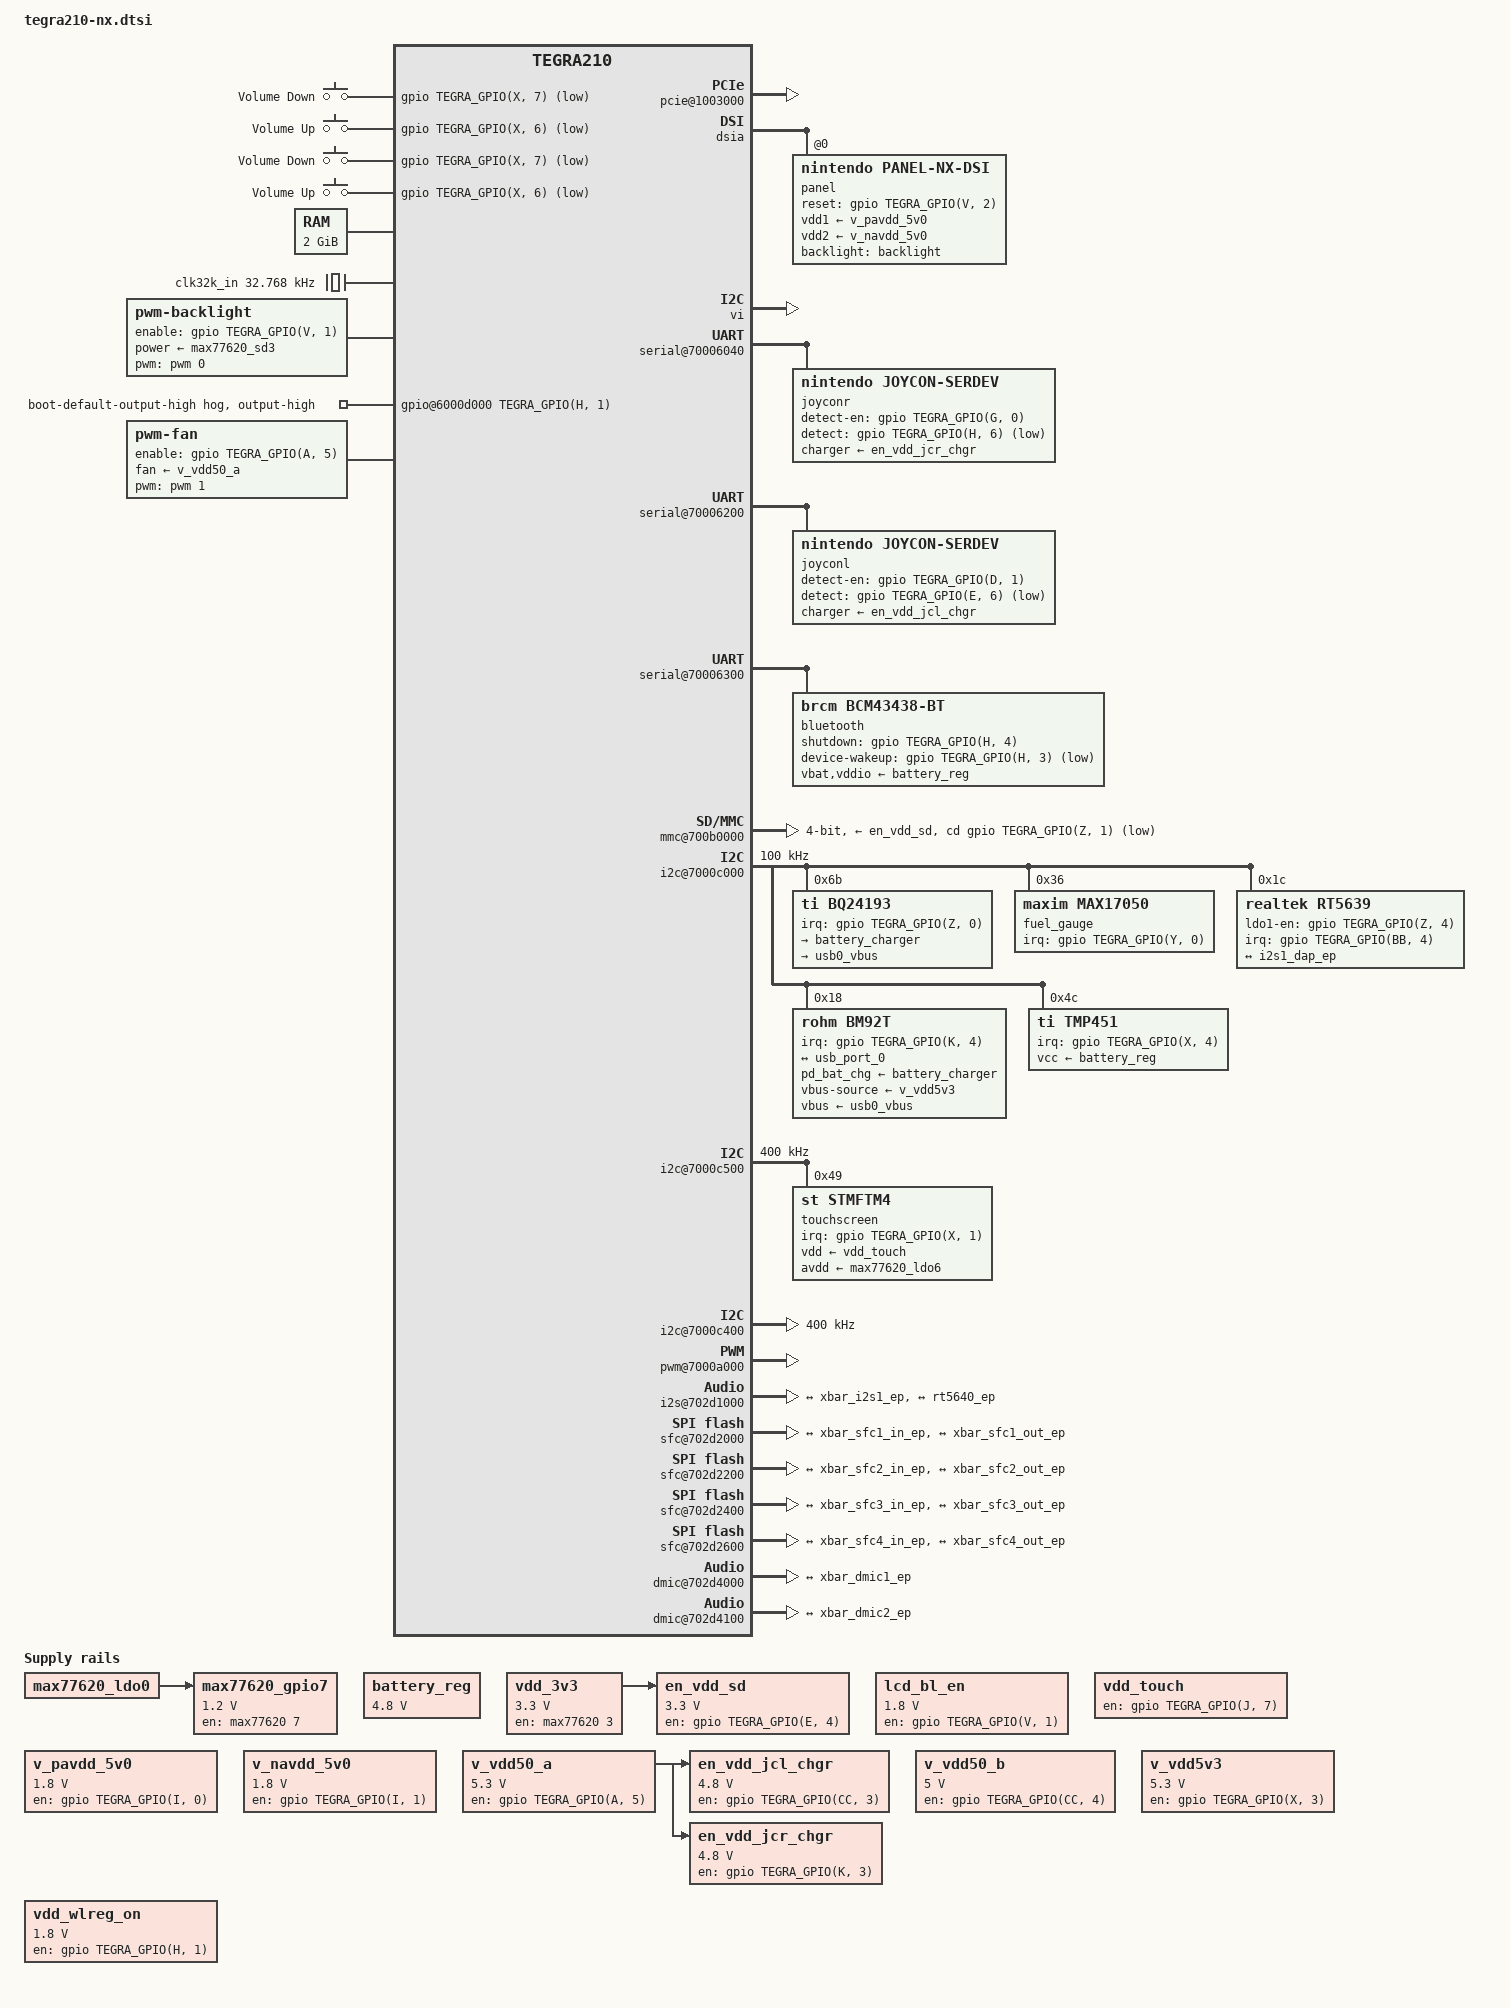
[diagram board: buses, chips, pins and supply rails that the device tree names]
// SPDX-License-Identifier: GPL-2.0
/dts-v1/;

#include <dt-bindings/mfd/max77620.h>
#include <dt-bindings/gpio/tegra-gpio.h>
#include <dt-bindings/thermal/thermal.h>
#include <dt-bindings/interrupt-controller/irq.h>
#include <dt-bindings/soc/tegra-pmc.h>
#include <dt-bindings/input/input.h>
#include <dt-bindings/pwm/pwm.h>
#include <dt-bindings/pinctrl/pinctrl-tegra.h>
#include <dt-bindings/pinctrl/pinctrl-tegra-io-pad.h>
#include <dt-bindings/sound/rt5640.h>

#include "tegra210.dtsi"

/ {
	aliases {
		i2c1 = "/i2c@7000c000";
		i2c2 = "/i2c@7000c400";
		i2c3 = "/i2c@7000c500";
		i2c5 = "/i2c@7000d000";
		rtc0 = "/i2c@7000d000/max77620@3c";
		rtc1 = "/rtc@7000e000";
		serial0 = &uarta;
		serial1 = &uartb;
		serial2 = &uartc;
		serial3 = &uartd;
	};

	gpio-keys {
		compatible = "gpio-keys";
		gpio-keys,name = "gpio-keys";

		volume_down {
			label = "Volume Down";
			gpios = <&gpio TEGRA_GPIO(X, 7) GPIO_ACTIVE_LOW>;
			linux,code = <KEY_VOLUMEDOWN>;
			debounce-interval = <16>;
		};

		volume_up {
			label = "Volume Up";
			gpios = <&gpio TEGRA_GPIO(X, 6) GPIO_ACTIVE_LOW>;
			linux,code = <KEY_VOLUMEUP>;
			debounce-interval = <16>;
		};
	};

	firmware {
		android {
			compatible = "android,firmware";
			boot_devices = "700b0000.mmc";
			hardware = "nx";
		};
	};

	cpus {
		#address-cells = <1>;
		#size-cells = <0>;

		cpu@0 {
			vdd-cpu-supply = <&cpu_max_reg>;
			#cooling-cells = <2>;
		};

		idle-states {
			cpu-sleep {
				status = "okay";
			};
		};
	};

	gpu@57000000 {
		status = "okay";
		vdd-supply = <&gpu_max_reg>;
	};

	pcie@1003000 {
		status = "okay";

		avdd-pll-uerefe-supply = <&max77620_ldo1>;
		hvddio-pex-supply = <&max77620_sd3>;
		dvddio-pex-supply = <&max77620_ldo1>;
		dvdd-pex-pll-supply = <&max77620_ldo1>;
		hvdd-pex-pll-e-supply = <&max77620_sd3>;
		vddio-pex-ctl-supply = <&max77620_sd3>;

		pci@1,0 {
			phys =	<&{/padctl@7009f000/pads/pcie/lanes/pcie-3}>, /* Referred to plat config */
				<&{/padctl@7009f000/pads/pcie/lanes/pcie-2}>;
			phy-names = "pcie-0", "pcie-1";
			nvidia,num-lanes = <2>;
			status = "disabled";
		};

		pci@2,0 {
			phys = <&{/padctl@7009f000/pads/pcie/lanes/pcie-0}>;
			phy-names = "pcie-0";
			status = "okay";
		};
	};

	host1x@50000000 {
		dsia: dsi@54300000 {
			status = "okay";

			panel@0 {
				compatible = "nintendo,panel-nx-dsi";
				reset-gpios = <&gpio TEGRA_GPIO(V, 2) GPIO_ACTIVE_HIGH>;
				backlight = <&backlight>;
				vdd1-supply = <&v_pavdd_5v0>;
				vdd2-supply = <&v_navdd_5v0>;
			};
		};

		/* tegradc.0: DSI */
		dc@54200000 {
			status = "okay";
			pavdd_lcd-supply = <&v_pavdd_5v0>;
			navdd_lcd-supply = <&v_navdd_5v0>;
			dvdd_lcd-supply = <&max77620_sd3>;
			vdd_lcd_bl_en-supply = <&lcd_bl_en>;
			nvidia,outputs = <&dsia>;
		};

		/* tegradc.1: DP */
		dc@54240000 {
			status = "okay";
			avdd_hdmi-supply = <&max77620_ldo8>;    /* 1V05 */
			avdd_hdmi_pll-supply = <&max77620_sd3>; /* 1V8 */
			// vdd_hdmi_5v0-supply = <&vdd_hdmi>; /* 5V0 GPIO_PCC7 fixed reg */

			vdd-dp-pwr-supply = <&vdd_3v3>;
			avdd-dp-pll-supply = <&max77620_sd3>;
			vdd-dp-pad-supply = <&max77620_ldo8>;

			extcon-cables = <&bm92t 3>;
			extcon-cable-names = "typec1";

			nvidia,outputs = <&sor1>;
		};

		dpaux1: dpaux@54040000 {
			status = "okay";
			vdd-supply = <&v_pavdd_5v0>;
		};

		sor1: sor@54580000 {
			status = "okay";
			nvidia,dpaux = <&dpaux1>;

			avdd-io-hdmi-dp-supply = <&max77620_ldo8>;
			vdd-hdmi-dp-pll-supply = <&max77620_sd3>;

			nvidia,hpd-gpio = <&gpio TEGRA_GPIO(CC, 1) GPIO_ACTIVE_LOW>;
		};

		vi: i2c@546c0000 {
			status = "okay";
		};
	};

	clock@70110000 {
		status = "okay";
		nvidia,cf = <6>;
		nvidia,ci = <0>;
		nvidia,cg = <2>;
		nvidia,droop-ctrl = <0x00000f00>;
		nvidia,force-mode = <1>;
		nvidia,i2c-fs-rate = <400000>;
		nvidia,sample-rate = <12500>;
		vdd-cpu-supply = <&cpu_max_reg>;
	};

	memory {
		device_type = "memory";
		reg = <0x0 0x80000000 0x0 0x80000000>;
	};

	reserved-memory {
		/delete-node/ vpr-carveout;
		/delete-node/ iram-carveout;
	};

	r2p {
		compatible = "nvidia,tegra210-r2p";
		nvidia,pmc = <&pmc>;
		status = "okay";
	};

	/* debug port */
	serial@70006000 {
		status = "disabled";
	};

	/* joycon ports:
	invert TXD and RTS via IRDA_CSR
	start @ 1000000 baud, switch to 3000000
	when they are >= 3000000 baud, use 2 stop bits
	use flow control
	Note: hsuart driver is required for flow control
	*/
	/* right joycon */
	serial@70006040 {
		status = "okay";
		compatible = "nvidia,tegra124-hsuart", "nvidia,tegra30-hsuart";
		nvidia,invert-txd;
		nvidia,invert-rts;
		reset-names = "serial";

		joyconr {
			status = "okay";
			compatible = "nintendo,joycon-serdev";
			charger-supply = <&en_vdd_jcr_chgr>;
			detect-en-gpios = <&gpio TEGRA_GPIO(G, 0) GPIO_ACTIVE_HIGH>;
			detect-gpios = <&gpio TEGRA_GPIO(H, 6) GPIO_ACTIVE_LOW>;
		};
	};

	/* left joycon */
	serial@70006200 {
		status = "okay";
		compatible = "nvidia,tegra124-hsuart", "nvidia,tegra30-hsuart";
		nvidia,invert-txd;
		nvidia,invert-rts;
		reset-names = "serial";

		joyconl {
			status = "okay";
			compatible = "nintendo,joycon-serdev";
			charger-supply = <&en_vdd_jcl_chgr>;
			detect-en-gpios = <&gpio TEGRA_GPIO(D, 1) GPIO_ACTIVE_HIGH>;
			detect-gpios = <&gpio TEGRA_GPIO(E, 6) GPIO_ACTIVE_LOW>;
		};
	};

	/* bluetooth */
	serial@70006300 {
		dma-names = "tx";
		status = "okay";
		compatible = "nvidia,tegra124-hsuart", "nvidia,tegra30-hsuart";
		reset-names = "serial";

		bluetooth {
			compatible = "brcm,bcm43438-bt";
			vbat-supply = <&battery_reg>;
			vddio-supply = <&battery_reg>;
			shutdown-gpios = <&gpio TEGRA_GPIO(H, 4) GPIO_ACTIVE_HIGH>;
			device-wakeup-gpios = <&gpio TEGRA_GPIO(H, 3) GPIO_ACTIVE_LOW>;
			max-speed = <3000000>; /* Max supported 4 MBaud */
			sco-routing = <1>; /* Over HCI */
		};
	};

	pmc: pmc@7000e400 {
		pinctrl-names = "default";
		pinctrl-0 = <&pmc_audio_hv &pmc_spi_hv &pmc_gpio &pmc_sdmmc3>;
		status = "okay";

		pmc_audio_hv: audio-hv {
			pins = "audio-hv";
			power-source = <TEGRA_IO_PAD_VOLTAGE_1V8>;
		};

		pmc_spi_hv: spi-hv {
			pins = "spi-hv";
			power-source = <TEGRA_IO_PAD_VOLTAGE_1V8>;
		};

		pmc_gpio: gpio {
			pins = "gpio";
			power-source = <TEGRA_IO_PAD_VOLTAGE_1V8>;
		};

		pmc_sdmmc3: sdmmc3 {
			pins = "sdmmc3";
			power-source = <TEGRA_IO_PAD_VOLTAGE_1V8>;
		};
	};

	clk32k_in: clock-32k {
		compatible = "fixed-clock";
		clock-frequency = <32768>;
		#clock-cells = <0>;
	};

	backlight: backlight {
		compatible = "pwm-backlight";
		pwms = <&pwm 0 33898>;
		pwm-names = "backlight";
		brightness-levels = <
			0 1 2 3 4 5 6 7 8 9 10 11 12 13 14 15 16
			17 18 19 20 21 22 23 24 25 26 27 28 29 30
			31 32 33 34 35 36 37 38 39 40 41 42 43 44
			45 46 47 48 49 50 51 52 53 54 55 56 57 58
			59 60 61 62 63 64 65 66 67 68 69 70 71 72
			73 74 75 76 77 78 79 80 81 82 83 84 85 86
			87 88 89 90 91 92 93 94 95 96 97 98 99 100
		>;
		default-brightness-level = <50>;
		enable-gpios = <&gpio TEGRA_GPIO(V, 1) GPIO_ACTIVE_HIGH>;
		power-supply = <&max77620_sd3>;
	};

	/* Fixed regulators */
	battery_reg: regulator@0 {
		compatible = "regulator-fixed";
		reg = <0>;
		regulator-name = "vdd-ac-bat";
		regulator-min-microvolt = <4800000>;
		regulator-max-microvolt = <4800000>;
		regulator-always-on;
	};

	vdd_3v3: regulator@1 {
		compatible = "regulator-fixed";
		reg = <1>;
		regulator-name = "vdd-3v3";
		regulator-min-microvolt = <3300000>;
		regulator-max-microvolt = <3300000>;
		regulator-always-on;
		gpio = <&max77620 3 0>;
		enable-active-high;
		regulator-enable-ramp-delay = <160>;
		regulator-disable-ramp-delay = <10000>;
	};

	max77620_gpio7: avdd-dsi-csi-1v2 {
		compatible = "regulator-fixed";
		regulator-name = "max77620-gpio7";
		regulator-min-microvolt = <1200000>;
		regulator-max-microvolt = <1200000>;
		regulator-boot-on; /* Must be set for seamless display */
		gpio = <&max77620 7 0>;
		enable-active-high;
		regulator-enable-ramp-delay = <240>;
		regulator-disable-ramp-delay = <11340>;
		vin-supply = <&max77620_ldo0>;
	};

	lcd_bl_en: regulator@3 {
		compatible = "regulator-fixed";
		reg = <3>;
		status = "okay"; /* Only enabled on Odin/Modin/Vali */
		regulator-name = "lcd-bl-en";
		regulator-min-microvolt = <1800000>;
		regulator-max-microvolt = <1800000>;
		gpio = <&gpio TEGRA_GPIO(V, 1) 0>;
		regulator-boot-on; /* Must be set for seamless display */
		enable-active-high;
	};

	vdd_touch: regulator-touch-vdd {
		compatible = "regulator-fixed";
		regulator-name = "touch-vdd";
		gpio = <&gpio TEGRA_GPIO(J, 7) GPIO_ACTIVE_HIGH>;
		enable-active-high;
		startup-delay-us = <5000>; // from downstream driver
	};

	en_vdd_sd: regulator@4 {
		compatible = "regulator-fixed";
		reg = <4>;
		regulator-name = "en-vdd-sd";
		regulator-min-microvolt = <3300000>;
		regulator-max-microvolt = <3300000>;
		gpio = <&gpio TEGRA_GPIO(E, 4) 0>;
		enable-active-high;
		regulator-enable-ramp-delay = <472>;
		regulator-disable-ramp-delay = <4880>;
		vin-supply = <&vdd_3v3>;
	};

	/* LCD Power Enable +5V. Rohm BD8316GWL. */
	v_pavdd_5v0: v-pavdd-5v0 {
		compatible = "regulator-fixed";
		regulator-name = "v_pavdd_5v0";
		regulator-min-microvolt = <1800000>;
		regulator-max-microvolt = <1800000>;
		gpio = <&gpio TEGRA_GPIO(I, 0) 0>;
		enable-active-high;
		regulator-boot-on; /* Must be set for seamless display */
		regulator-enable-ramp-delay = <232>;
	};

	/* LCD Power Enable -5V. Rohm BD8316GWL. */
	v_navdd_5v0: regulator@8 {
		compatible = "regulator-fixed";
		reg = <8>;
		status = "okay"; /* Only enabled on Odin/Modin/Vali*/
		regulator-name = "v_navdd_5v0";
		regulator-min-microvolt = <1800000>;
		regulator-max-microvolt = <1800000>;
		gpio = <&gpio TEGRA_GPIO(I, 1) 0>;
		enable-active-high;
		regulator-boot-on; /* Must be set for seamless display */
		regulator-enable-ramp-delay = <232>;
	};

	/* Joycon/Fan power (battery). Maxim MAX8969EWL53+. */
	v_vdd50_a: regulator@9 {
		compatible = "regulator-fixed";
		reg = <9>;
		regulator-name = "v_vdd50_a";
		regulator-min-microvolt = <5300000>;
		regulator-max-microvolt = <5300000>;
		gpio = <&gpio TEGRA_GPIO(A, 5) 0>;
		enable-active-high;
	};

	/* Joycon/Fan power (usb). DC0 on Odin. Maxim MAX8969EWL53+ on Modin. */
	v_vdd50_b: regulator@0xa {
		compatible = "regulator-fixed";
		reg = <10>;
		status = "okay"; /* Only enabled on Odin/Modin */
		regulator-name = "v_vdd50_b";
		regulator-min-microvolt = <5000000>;
		regulator-max-microvolt = <5000000>;
		gpio = <&gpio TEGRA_GPIO(CC, 4) 0>;
		enable-active-high;
	};

	/* VBUS power */
	v_vdd5v3: regulator@0xb {
		compatible = "regulator-fixed";
		reg = <11>;
		status = "okay"; /* Only enabled on Modin/Vali/Fric */
		regulator-name = "v_vdd5v3";
		regulator-min-microvolt = <5300000>;
		regulator-max-microvolt = <5300000>;
		gpio = <&gpio TEGRA_GPIO(X, 3) 0>;
		enable-active-high;
		regulator-enable-ramp-delay = <10000>;
	};

	vdd3v3_gc: regulator@0xc {
		compatible = "regulator-fixed";
		status = "disabled"; /* Only on Odin */
		reg = <12>;
		regulator-name = "vdd3v3_gc";
		regulator-min-microvolt = <3300000>;
		regulator-max-microvolt = <3300000>;
		gpio = <&gpio TEGRA_GPIO(E, 5) 0>;
		enable-active-high;
		regulator-enable-ramp-delay = <472>;
		regulator-disable-ramp-delay = <4880>;
		vin-supply = <&vdd_3v3>;
	};

	vdd_wlreg_on: regulator@0xd {
		compatible = "regulator-fixed";
		reg = <13>;
		regulator-name = "vdd-wlreg_on";
		regulator-min-microvolt = <1800000>;
		regulator-max-microvolt = <1800000>;
		gpio = <&gpio TEGRA_GPIO(H, 1) 0>;
		regulator-boot-on;
		regulator-always-on;
		enable-active-high;
	};

	/* TI TCR2EE48 4.8V */
	en_vdd_jcl_chgr: regulator@0xe {
		compatible = "regulator-fixed";
		reg = <14>;
		status = "okay";
		regulator-name = "left-jc-reg";
		regulator-min-microvolt = <4800000>;
		regulator-max-microvolt = <4800000>;
		gpio = <&gpio TEGRA_GPIO(CC, 3) GPIO_ACTIVE_HIGH>;
		enable-active-high;
		vin-supply = <&v_vdd50_a>;
	};

	/* TI TCR2EE48 4.8V */
	en_vdd_jcr_chgr: regulator@0xf {
		compatible = "regulator-fixed";
		reg = <15>;
		status = "okay";
		regulator-name = "right-jc-reg";
		regulator-min-microvolt = <4800000>;
		regulator-max-microvolt = <4800000>;
		gpio = <&gpio TEGRA_GPIO(K, 3) GPIO_ACTIVE_HIGH>;
		enable-active-high;
		vin-supply = <&v_vdd50_a>;
	};

	/* SDMMC4 for EMMC */
	mmc@700b0600 {
		status = "disabled";
		bus-width = <8>;
		max-frequency = <200000000>;

		cap-mmc-highspeed;
		mmc-ddr-1_8v;
		mmc-hs200-1_8v;
		mmc-hs400-1_8v;
		non-removable;

		vqmmc-supply = <&max77620_sd3>;
		vmmc-supply = <&vdd_3v3>;
	};

	/* SDMMC3 Not Used */
	mmc@700b0400 {
		status = "disabled";

		vqmmc-supply = <&max77620_sd3>;
		vmmc-supply = <&vdd_3v3>;
	};

	/* SDMMC2 for Gamecard */
	mmc@700b0200 {
		status = "disabled";
		bus-width = <8>;
		max-frequency = <200000000>;

		mmc-ddr-1_8v;
		mmc-hs400-1_8v;
		mmc-hs200-1_8v;
		cap-mmc-highspeed;
		cap-sd-highspeed;
		non-removable;

		vqmmc-supply = <&max77620_sd3>;
		vmmc-supply = <&vdd_3v3>;
	};

	/* SDMMC1 for SD Card */
	mmc@700b0000 {
		status = "okay";
		bus-width = <4>;
		//max-frequency = <200000000>;

		cap-sd-highspeed;
		sd-uhs-sdr12;
		sd-uhs-sdr50;
		sd-uhs-sdr104;

		cd-gpios = <&gpio TEGRA_GPIO(Z, 1) GPIO_ACTIVE_LOW>;

		vmmc-supply = <&en_vdd_sd>;
		vqmmc-supply = <&max77620_ldo2>;
	};

	hda@70030000 {
		status = "okay";
	};

    	/* i2c1 @ 100000hz
	1c: realtek 5639
	18: rohm usb-pd
	4c: ti temperature sensor
	6b: ti charger
	36: maxim fuel gauge
	*/
	i2c@7000c000 {
		status = "okay";
		clock-frequency = <100000>;

		bq24193@6b {
			compatible = "ti,bq24193";
			reg = <0x6b>;

			interrupt-parent = <&gpio>;
			interrupts = <TEGRA_GPIO(Z, 0) IRQ_TYPE_LEVEL_LOW>;

			monitored-battery = <&fuel_gauge>;
			#extcon-cells = <1>;

			omit-battery-class;

			battery_charger: charger {
				regulator-name = "batt_regulator";
				regulator-max-microamp = <4500000>;
			};

			usb0_vbus: usb-otg-vbus {
				regulator-name = "vbus_regulator";
			};
		};

		fuel_gauge: fuel-gauge@36 {
			compatible = "maxim,max17050";
			status = "okay";
			reg = <0x36>;

			interrupt-parent = <&gpio>;
			interrupts = <TEGRA_GPIO(Y, 0) IRQ_TYPE_EDGE_FALLING>;

			/* Actual is 5000 but driver does not account for CGAIN */
			/* And does not take into account Rsense and CGAIN for capacity */
			maxim,rsns-microohm = <10000>;
			maxim,over-heat-temp = <600>;
			maxim,dead-volt = <3000>;
			maxim,over-volt = <4208>; /* Actual: 4258 mV */

			#thermal-sensor-cells = <0>;
		};

		rt5639: audio-codec@1c {
			status = "okay";
			compatible = "realtek,rt5639";
			reg = <0x1c>;
			interrupt-parent = <&gpio>;
			interrupts = <TEGRA_GPIO(BB, 4) IRQ_TYPE_EDGE_RISING>;
			clocks = <&tegra_pmc TEGRA_PMC_CLK_OUT_1>;
			clock-names = "mclk";
			assigned-clocks = <&tegra_pmc TEGRA_PMC_CLK_OUT_1>;
			assigned-clock-parents = <&tegra_car TEGRA210_CLK_EXTERN1>;
			realtek,ldo1-en-gpios = <&gpio TEGRA_GPIO(Z, 4) GPIO_ACTIVE_HIGH>;
			realtek,over-current-threshold-microamp = <600>;
			realtek,over-current-scale-factor = <2>;
			realtek,jack-detect-source = <RT5640_JD_SRC_JD1_IN4P>;

			sound-name-prefix = "x";

			port {
				rt5640_ep: endpoint {
					remote-endpoint = <&i2s1_dap_ep>;
					mclk-fs = <256>;
				};
			};
		};

		/* PD Chip */
		bm92t: bm92t@18 {
			compatible = "rohm,bm92t";
			reg = <0x18>;
			interrupt-parent = <&gpio>;
			interrupts = <TEGRA_GPIO(K, 4) IRQ_TYPE_LEVEL_LOW>;
			pd_bat_chg-supply = <&battery_charger>;
			vbus-source-supply = <&v_vdd5v3>;
			vbus-supply = <&usb0_vbus>;

			rohm,dp-lanes = <2>;
			rohm,dp-signal-toggle-on-resume;

			/* Absolute max is 2.4A, constrained by BQ24193 ILIM */
			rohm,pd-5v-current-limit-ma = <2000>;
			rohm,pd-9v-current-limit-ma = <2000>;
			rohm,pd-12v-current-limit-ma = <1500>;
			rohm,pd-15v-current-limit-ma = <1200>;

			connector {
				compatible = "usb-c-connector";
				label = "USB-C";
				power-role = "dual";
				data-role = "dual";
				displayport = <&sor1>;

				ports {
					#address-cells = <1>;
					#size-cells = <0>;

					port@0 {
						reg = <0>;
						usb_con_ep: endpoint {
							remote-endpoint = <&usb_port_0>;
						};
					};
				};
			};
		};

		tmp451: temperature-sensor@4c {
			compatible = "ti,tmp451";
			status = "okay";
			reg = <0x4c>;

			interrupt-parent = <&gpio>;
			interrupts = <TEGRA_GPIO(X, 4) IRQ_TYPE_EDGE_FALLING>;
			vcc-supply = <&battery_reg>;

			#thermal-sensor-cells = <1>;
		};
   	};

	/* i2c3 @ 400000hz
	49: stm touchscreen controller
	*/
	i2c@7000c500 {
		status = "okay";
		clock-frequency = <400000>;

		touchscreen@49 {
			compatible = "st,stmftm4";
			reg = <0x49>;
			interrupt-parent = <&gpio>;
			interrupts = <TEGRA_GPIO(X, 1) IRQ_TYPE_LEVEL_LOW>;
			touchscreen-size-x = <1280>;
			touchscreen-size-y = <720>;
			touch-key-connected;
			vdd-supply = <&vdd_touch>;
			avdd-supply = <&max77620_ldo6>;
		};
	};


	/* i2c2 @ 400000hz
	29: rohm ambient light sensor
	*/
	i2c@7000c400 {
		status = "okay";
		clock-frequency = <400000>;

		bh1730fvc: bh1730fvc@29 {
			status = "disabled";
			compatible = "rohm,bh1730fvc";
			reg = <0x29>;
			als-vid-supply = <&max77620_ldo6>;
			als-vdd-supply = <&vdd_3v3>;
			rohm,integration-cycle = <38>;
			rohm,lux-multiplier = <3600>;

			rohm,opt-win-coeff = < 500 5002 7502
					       754 2250 2000
					      1029 1999 1667
					      1373  884  583
					      1879  309  165>;

			rohm,gain-coeff = < 2500     0
					    1600  7800
					      10 50000
					       0  1000>;
		};
	};

	spi@7000da00 {
		status = "disabled"; /* Disabled for Vali */
		num-cs = <1>;

		#address-cells = <1>;
		#size-cells = <0>;

		// spi-cs-setup-delay-ns = <2>;
		// spi-cs-hold-delay-ns = <2>;
		// spi-cs-inactive-delay-ns = <2>;

		/*
		* Model WHOAMI:
		* LSM6DS3H 0x69, LSM6DSE 0x6A, LSM6DSO 0x6C, ICM40607 0x38.
		*/
		gyroscope: imu@0 {
			reg = <0>;
			status = "disabled";
			compatible = "st,lsm6ds3h";

			#address-cells = <1>;
			#size-cells = <0>;

			spi-max-frequency = <8000000>;

			/* SPI Mode-3 */
			spi-cpha;
			spi-cpol;

			interrupt-parent = <&gpio>;
			interrupts = <TEGRA_GPIO(X, 2) IRQ_TYPE_LEVEL_HIGH>;

			vdd-supply = <&battery_reg>;
			vddio-supply = <&battery_reg>;

			st,drdy-int-pin = <2>;

			nvidia,rx-clk-tap-delay = <0x1f>;
			nvidia,tx-clk-tap-delay = <0x0>;


			mount-matrix =
				"1", "0",  "0", /* X:  x */
				"0", "1",  "0", /* Y:  y */
				"0", "0",  "1"; /* Z:  z */
		};
	};

	gpio-keys {
		compatible = "gpio-keys";

		key-volume-down {
			label = "Volume Down";
			gpios = <&gpio TEGRA_GPIO(X, 7) GPIO_ACTIVE_LOW>;
			linux,input-type = <EV_KEY>;
			linux,code = <KEY_VOLUMEDOWN>;
			debounce-interval = <10>;
		};

		key-volume-up {
			label = "Volume Up";
			gpios = <&gpio TEGRA_GPIO(X, 6) GPIO_ACTIVE_LOW>;
			linux,input-type = <EV_KEY>;
			linux,code = <KEY_VOLUMEUP>;
			debounce-interval = <10>;
		};
	};

	gpio@6000d000 {
		boot-default-output-high {
			gpio-hog;
			output-high;
			gpios = <TEGRA_GPIO(H, 1) GPIO_ACTIVE_HIGH>;  /* Wi-Fi Reset. Powered on by default. */
			line-name = "boot-default-output-high";
		};
	};

	pwm@7000a000 {
		status = "okay";
		#pwm-cells = <2>;
		pinctrl-names = "default", "sleep";
		pinctrl-0 = <&fan_pwm_default>;
		pinctrl-1 = <&fan_pwm_sleep>;
	};

	pinmux@700008d4 {
		fan_pwm_default: fan-pwm-default {
			lcd_gpio2_pv4 {
				nvidia,pins = "lcd_gpio2_pv4";
				nvidia,function = "pwm1";
				nvidia,pull = <TEGRA_PIN_PULL_NONE>;
				nvidia,tristate = <TEGRA_PIN_DISABLE>;
				nvidia,enable-input = <TEGRA_PIN_DISABLE>;
			};
		};

		fan_pwm_sleep: fan-pwm-sleep {
			lcd_gpio2_pv4 {
				nvidia,pins = "lcd_gpio2_pv4";
				nvidia,function = "pwm1";
				nvidia,pull = <TEGRA_PIN_PULL_UP>;
				nvidia,tristate = <TEGRA_PIN_ENABLE>;
				nvidia,enable-input = <TEGRA_PIN_DISABLE>;
			};
		};
	};

  	fan: pwm-fan {
		compatible = "pwm-fan";
		cooling-min-state = <0>;
		cooling-max-state = <5>;
		#cooling-cells = <2>;
		pwms = <&pwm 1 33333>;
		fan-supply = <&v_vdd50_a>;
		enable-gpios = <&gpio TEGRA_GPIO(A, 5) GPIO_ACTIVE_HIGH>;
		/* cooling level (0, 1, 2, 3, 4, 5) - pwm inverted */
		cooling-levels = <255 204 153 102 51 1>;
	};

	aconnect@702c0000 {
		status = "okay";

		ahub@702d0800 {
			status = "okay";

			admaif@702d0000 {
				status = "okay";
			};

			/* I2S1: RT5639 */
			i2s@702d1000 {
				status = "okay";

				ports {
					#address-cells = <1>;
					#size-cells = <0>;

					port@0 {
						reg = <0>;

						i2s1_cif_ep: endpoint {
							remote-endpoint = <&xbar_i2s1_ep>;
						};
					};

					i2s1_port: port@1 {
						reg = <1>;

						i2s1_dap_ep: endpoint {
							dai-format = "i2s";
							remote-endpoint = <&rt5640_ep>;
						};
					};
				};
			};

			/* I2S2: BCM4356-BT PCM */
			// i2s@702d1100 {
			// 	status = "okay";
//
// 				ports {
// 					#address-cells = <1>;
// 					#size-cells = <0>;
//
// 					port@0 {
// 						reg = <0>;
//
// 						i2s2_cif_ep: endpoint {
// 							remote-endpoint = <&xbar_i2s2_ep>;
// 						};
// 					};
//
// 					i2s2_port: port@1 {
// 						reg = <1>;
//
// 						/*i2s2_dap_ep: endpoint {
// 							dai-format = "dsp_a";
// 							remote-endpoint = <&spdif1_ep>;
// 						};*/
// 					};
// 				};
			//};

			sfc@702d2000 {
				status = "okay";

				ports {
					#address-cells = <1>;
					#size-cells = <0>;

					port@0 {
						reg = <0>;

						sfc1_cif_in_ep: endpoint {
							remote-endpoint = <&xbar_sfc1_in_ep>;
						};
					};

					sfc1_out_port: port@1 {
						reg = <1>;

						sfc1_cif_out_ep: endpoint {
							remote-endpoint = <&xbar_sfc1_out_ep>;
						};
					};
				};
			};

			sfc@702d2200 {
				status = "okay";

				ports {
					#address-cells = <1>;
					#size-cells = <0>;

					port@0 {
						reg = <0>;

						sfc2_cif_in_ep: endpoint {
							remote-endpoint = <&xbar_sfc2_in_ep>;
						};
					};

					sfc2_out_port: port@1 {
						reg = <1>;

						sfc2_cif_out_ep: endpoint {
							remote-endpoint = <&xbar_sfc2_out_ep>;
						};
					};
				};
			};

			sfc@702d2400 {
				status = "okay";

				ports {
					#address-cells = <1>;
					#size-cells = <0>;

					port@0 {
						reg = <0>;

						sfc3_cif_in_ep: endpoint {
							remote-endpoint = <&xbar_sfc3_in_ep>;
						};
					};

					sfc3_out_port: port@1 {
						reg = <1>;

						sfc3_cif_out_ep: endpoint {
							remote-endpoint = <&xbar_sfc3_out_ep>;
						};
					};
				};
			};

			sfc@702d2600 {
				status = "okay";

				ports {
					#address-cells = <1>;
					#size-cells = <0>;

					port@0 {
						reg = <0>;

						sfc4_cif_in_ep: endpoint {
							remote-endpoint = <&xbar_sfc4_in_ep>;
						};
					};

					sfc4_out_port: port@1 {
						reg = <1>;

						sfc4_cif_out_ep: endpoint {
							remote-endpoint = <&xbar_sfc4_out_ep>;
						};
					};
				};
			};

			amx@702d3000 {
				status = "okay";

				ports {
					#address-cells = <1>;
					#size-cells = <0>;

					port@0 {
						reg = <0>;

						amx1_in1_ep: endpoint {
							remote-endpoint = <&xbar_amx1_in1_ep>;
						};
					};

					port@1 {
						reg = <1>;

						amx1_in2_ep: endpoint {
							remote-endpoint = <&xbar_amx1_in2_ep>;
						};
					};

					port@2 {
						reg = <2>;

						amx1_in3_ep: endpoint {
							remote-endpoint = <&xbar_amx1_in3_ep>;
						};
					};

					port@3 {
						reg = <3>;

						amx1_in4_ep: endpoint {
							remote-endpoint = <&xbar_amx1_in4_ep>;
						};
					};

					amx1_out_port: port@4 {
						reg = <4>;

						amx1_out_ep: endpoint {
							remote-endpoint = <&xbar_amx1_out_ep>;
						};
					};
				};
			};

			amx@702d3100 {
				status = "okay";

				ports {
					#address-cells = <1>;
					#size-cells = <0>;

					port@0 {
						reg = <0>;

						amx2_in1_ep: endpoint {
							remote-endpoint = <&xbar_amx2_in1_ep>;
						};
					};

					port@1 {
						reg = <1>;

						amx2_in2_ep: endpoint {
							remote-endpoint = <&xbar_amx2_in2_ep>;
						};
					};

					amx2_in3_port: port@2 {
						reg = <2>;

						amx2_in3_ep: endpoint {
							remote-endpoint = <&xbar_amx2_in3_ep>;
						};
					};

					amx2_in4_port: port@3 {
						reg = <3>;

						amx2_in4_ep: endpoint {
							remote-endpoint = <&xbar_amx2_in4_ep>;
						};
					};

					amx2_out_port: port@4 {
						reg = <4>;

						amx2_out_ep: endpoint {
							remote-endpoint = <&xbar_amx2_out_ep>;
						};
					};
				};
			};

			adx@702d3800 {
				status = "okay";

				ports {
					#address-cells = <1>;
					#size-cells = <0>;

					port@0 {
						reg = <0>;

						adx1_in_ep: endpoint {
							remote-endpoint = <&xbar_adx1_in_ep>;
						};
					};

					adx1_out1_port: port@1 {
						reg = <1>;

						adx1_out1_ep: endpoint {
							remote-endpoint = <&xbar_adx1_out1_ep>;
						};
					};

					adx1_out2_port: port@2 {
						reg = <2>;

						adx1_out2_ep: endpoint {
							remote-endpoint = <&xbar_adx1_out2_ep>;
						};
					};

					adx1_out3_port: port@3 {
						reg = <3>;

						adx1_out3_ep: endpoint {
							remote-endpoint = <&xbar_adx1_out3_ep>;
						};
					};

					adx1_out4_port: port@4 {
						reg = <4>;

						adx1_out4_ep: endpoint {
							remote-endpoint = <&xbar_adx1_out4_ep>;
						};
					};
				};
			};

			adx@702d3900 {
				status = "okay";

				ports {
					#address-cells = <1>;
					#size-cells = <0>;

					port@0 {
						reg = <0>;

						adx2_in_ep: endpoint {
							remote-endpoint = <&xbar_adx2_in_ep>;
						};
					};

					adx2_out1_port: port@1 {
						reg = <1>;

						adx2_out1_ep: endpoint {
							remote-endpoint = <&xbar_adx2_out1_ep>;
						};
					};

					adx2_out2_port: port@2 {
						reg = <2>;

						adx2_out2_ep: endpoint {
							remote-endpoint = <&xbar_adx2_out2_ep>;
						};
					};

					adx2_out3_port: port@3 {
						reg = <3>;

						adx2_out3_ep: endpoint {
							remote-endpoint = <&xbar_adx2_out3_ep>;
						};
					};

					adx2_out4_port: port@4 {
						reg = <4>;

						adx2_out4_ep: endpoint {
							remote-endpoint = <&xbar_adx2_out4_ep>;
						};
					};
				};
			};

			dmic@702d4000 {
				status = "okay";

				ports {
					#address-cells = <1>;
					#size-cells = <0>;

					port@0 {
						reg = <0>;

						dmic1_cif_ep: endpoint {
							remote-endpoint = <&xbar_dmic1_ep>;
						};
					};

					dmic1_port: port@1 {
						reg = <1>;

						dmic1_dap_ep: endpoint {
							/* Placeholder for external Codec */
						};
					};
				};
			};

			dmic@702d4100 {
				status = "okay";

				ports {
					#address-cells = <1>;
					#size-cells = <0>;

					port@0 {
						reg = <0>;

						dmic2_cif_ep: endpoint {
							remote-endpoint = <&xbar_dmic2_ep>;
						};
					};

					dmic2_port: port@1 {
						reg = <1>;

						dmic2_dap_ep: endpoint {
							/* Placeholder for external Codec */
						};
					};
				};
			};

			processing-engine@702d8000 {
				status = "okay";

				ports {
					#address-cells = <1>;
					#size-cells = <0>;

					port@0 {
						reg = <0x0>;

						ope1_cif_in_ep: endpoint {
							remote-endpoint = <&xbar_ope1_in_ep>;
						};
					};

					ope1_out_port: port@1 {
						reg = <0x1>;

						ope1_cif_out_ep: endpoint {
							remote-endpoint = <&xbar_ope1_out_ep>;
						};
					};
				};
			};

			processing-engine@702d8400 {
				status = "okay";

				ports {
					#address-cells = <1>;
					#size-cells = <0>;

					port@0 {
						reg = <0x0>;

						ope2_cif_in_ep: endpoint {
							remote-endpoint = <&xbar_ope2_in_ep>;
						};
					};

					ope2_out_port: port@1 {
						reg = <0x1>;

						ope2_cif_out_ep: endpoint {
							remote-endpoint = <&xbar_ope2_out_ep>;
						};
					};
				};
			};

			mvc@702da000 {
				status = "okay";

				ports {
					#address-cells = <1>;
					#size-cells = <0>;

					port@0 {
						reg = <0>;

						mvc1_cif_in_ep: endpoint {
							remote-endpoint = <&xbar_mvc1_in_ep>;
						};
					};

					mvc1_out_port: port@1 {
						reg = <1>;

						mvc1_cif_out_ep: endpoint {
							remote-endpoint = <&xbar_mvc1_out_ep>;
						};
					};
				};
			};

			mvc@702da200 {
				status = "okay";

				ports {
					#address-cells = <1>;
					#size-cells = <0>;

					port@0 {
						reg = <0>;

						mvc2_cif_in_ep: endpoint {
							remote-endpoint = <&xbar_mvc2_in_ep>;
						};
					};

					mvc2_out_port: port@1 {
						reg = <1>;

						mvc2_cif_out_ep: endpoint {
							remote-endpoint = <&xbar_mvc2_out_ep>;
						};
					};
				};
			};

			amixer@702dbb00 {
				status = "okay";

				ports {
					#address-cells = <1>;
					#size-cells = <0>;

					port@0 {
						reg = <0x0>;

						mixer_in1_ep: endpoint {
							remote-endpoint = <&xbar_mixer_in1_ep>;
						};
					};

					port@1 {
						reg = <0x1>;

						mixer_in2_ep: endpoint {
							remote-endpoint = <&xbar_mixer_in2_ep>;
						};
					};

					port@2 {
						reg = <0x2>;

						mixer_in3_ep: endpoint {
							remote-endpoint = <&xbar_mixer_in3_ep>;
						};
					};

					port@3 {
						reg = <0x3>;

						mixer_in4_ep: endpoint {
							remote-endpoint = <&xbar_mixer_in4_ep>;
						};
					};

					port@4 {
						reg = <0x4>;

						mixer_in5_ep: endpoint {
							remote-endpoint = <&xbar_mixer_in5_ep>;
						};
					};

					port@5 {
						reg = <0x5>;

						mixer_in6_ep: endpoint {
							remote-endpoint = <&xbar_mixer_in6_ep>;
						};
					};

					port@6 {
						reg = <0x6>;

						mixer_in7_ep: endpoint {
							remote-endpoint = <&xbar_mixer_in7_ep>;
						};
					};

					port@7 {
						reg = <0x7>;

						mixer_in8_ep: endpoint {
							remote-endpoint = <&xbar_mixer_in8_ep>;
						};
					};

					port@8 {
						reg = <0x8>;

						mixer_in9_ep: endpoint {
							remote-endpoint = <&xbar_mixer_in9_ep>;
						};
					};

					port@9 {
						reg = <0x9>;

						mixer_in10_ep: endpoint {
							remote-endpoint = <&xbar_mixer_in10_ep>;
						};
					};

					mixer_out1_port: port@a {
						reg = <0xa>;

						mixer_out1_ep: endpoint {
							remote-endpoint = <&xbar_mixer_out1_ep>;
						};
					};

					mixer_out2_port: port@b {
						reg = <0xb>;

						mixer_out2_ep: endpoint {
							remote-endpoint = <&xbar_mixer_out2_ep>;
						};
					};

					mixer_out3_port: port@c {
						reg = <0xc>;

						mixer_out3_ep: endpoint {
							remote-endpoint = <&xbar_mixer_out3_ep>;
						};
					};

					mixer_out4_port: port@d {
						reg = <0xd>;

						mixer_out4_ep: endpoint {
							remote-endpoint = <&xbar_mixer_out4_ep>;
						};
					};

					mixer_out5_port: port@e {
						reg = <0xe>;

						mixer_out5_ep: endpoint {
							remote-endpoint = <&xbar_mixer_out5_ep>;
						};
					};
				};
			};

			ports {
				xbar_i2s1_port: port@a {
					reg = <0xa>;

					xbar_i2s1_ep: endpoint {
						remote-endpoint = <&i2s1_cif_ep>;
					};
				};

// 				xbar_i2s2_port: port@b {
// 					reg = <0xb>;
//
// 					xbar_i2s2_ep: endpoint {
// 						remote-endpoint = <&i2s2_cif_ep>;
// 					};
// 				};

				xbar_dmic1_port: port@f {
					reg = <0xf>;

					xbar_dmic1_ep: endpoint {
						remote-endpoint = <&dmic1_cif_ep>;
					};
				};

				xbar_dmic2_port: port@10 {
					reg = <0x10>;

					xbar_dmic2_ep: endpoint {
						remote-endpoint = <&dmic2_cif_ep>;
					};
				};

				xbar_sfc1_in_port: port@12 {
					reg = <0x12>;

					xbar_sfc1_in_ep: endpoint {
						remote-endpoint = <&sfc1_cif_in_ep>;
					};
				};

				port@13 {
					reg = <0x13>;

					xbar_sfc1_out_ep: endpoint {
						remote-endpoint = <&sfc1_cif_out_ep>;
					};
				};

				xbar_sfc2_in_port: port@14 {
					reg = <0x14>;

					xbar_sfc2_in_ep: endpoint {
						remote-endpoint = <&sfc2_cif_in_ep>;
					};
				};

				port@15 {
					reg = <0x15>;

					xbar_sfc2_out_ep: endpoint {
						remote-endpoint = <&sfc2_cif_out_ep>;
					};
				};

				xbar_sfc3_in_port: port@16 {
					reg = <0x16>;

					xbar_sfc3_in_ep: endpoint {
						remote-endpoint = <&sfc3_cif_in_ep>;
					};
				};

				port@17 {
					reg = <0x17>;

					xbar_sfc3_out_ep: endpoint {
						remote-endpoint = <&sfc3_cif_out_ep>;
					};
				};

				xbar_sfc4_in_port: port@18 {
					reg = <0x18>;

					xbar_sfc4_in_ep: endpoint {
						remote-endpoint = <&sfc4_cif_in_ep>;
					};
				};

				port@19 {
					reg = <0x19>;

					xbar_sfc4_out_ep: endpoint {
						remote-endpoint = <&sfc4_cif_out_ep>;
					};
				};

				xbar_mvc1_in_port: port@1a {
					reg = <0x1a>;

					xbar_mvc1_in_ep: endpoint {
						remote-endpoint = <&mvc1_cif_in_ep>;
					};
				};

				port@1b {
					reg = <0x1b>;

					xbar_mvc1_out_ep: endpoint {
						remote-endpoint = <&mvc1_cif_out_ep>;
					};
				};

				xbar_mvc2_in_port: port@1c {
					reg = <0x1c>;

					xbar_mvc2_in_ep: endpoint {
						remote-endpoint = <&mvc2_cif_in_ep>;
					};
				};

				port@1d {
					reg = <0x1d>;

					xbar_mvc2_out_ep: endpoint {
						remote-endpoint = <&mvc2_cif_out_ep>;
					};
				};

				xbar_amx1_in1_port: port@1e {
					reg = <0x1e>;

					xbar_amx1_in1_ep: endpoint {
						remote-endpoint = <&amx1_in1_ep>;
					};
				};

				xbar_amx1_in2_port: port@1f {
					reg = <0x1f>;

					xbar_amx1_in2_ep: endpoint {
						remote-endpoint = <&amx1_in2_ep>;
					};
				};

				xbar_amx1_in3_port: port@20 {
					reg = <0x20>;

					xbar_amx1_in3_ep: endpoint {
						remote-endpoint = <&amx1_in3_ep>;
					};
				};

				xbar_amx1_in4_port: port@21 {
					reg = <0x21>;

					xbar_amx1_in4_ep: endpoint {
						remote-endpoint = <&amx1_in4_ep>;
					};
				};

				port@22 {
					reg = <0x22>;

					xbar_amx1_out_ep: endpoint {
						remote-endpoint = <&amx1_out_ep>;
					};
				};

				xbar_amx2_in1_port: port@23 {
					reg = <0x23>;

					xbar_amx2_in1_ep: endpoint {
						remote-endpoint = <&amx2_in1_ep>;
					};
				};

				xbar_amx2_in2_port: port@24 {
					reg = <0x24>;

					xbar_amx2_in2_ep: endpoint {
						remote-endpoint = <&amx2_in2_ep>;
					};
				};

				xbar_amx2_in3_port: port@25 {
					reg = <0x25>;

					xbar_amx2_in3_ep: endpoint {
						remote-endpoint = <&amx2_in3_ep>;
					};
				};

				xbar_amx2_in4_port: port@26 {
					reg = <0x26>;

					xbar_amx2_in4_ep: endpoint {
						remote-endpoint = <&amx2_in4_ep>;
					};
				};

				port@27 {
					reg = <0x27>;

					xbar_amx2_out_ep: endpoint {
						remote-endpoint = <&amx2_out_ep>;
					};
				};

				xbar_adx1_in_port: port@28 {
					reg = <0x28>;

					xbar_adx1_in_ep: endpoint {
						remote-endpoint = <&adx1_in_ep>;
					};
				};

				port@29 {
					reg = <0x29>;

					xbar_adx1_out1_ep: endpoint {
						remote-endpoint = <&adx1_out1_ep>;
					};
				};

				port@2a {
					reg = <0x2a>;

					xbar_adx1_out2_ep: endpoint {
						remote-endpoint = <&adx1_out2_ep>;
					};
				};

				port@2b {
					reg = <0x2b>;

					xbar_adx1_out3_ep: endpoint {
						remote-endpoint = <&adx1_out3_ep>;
					};
				};

				port@2c {
					reg = <0x2c>;

					xbar_adx1_out4_ep: endpoint {
						remote-endpoint = <&adx1_out4_ep>;
					};
				};

				xbar_adx2_in_port: port@2d {
					reg = <0x2d>;

					xbar_adx2_in_ep: endpoint {
						remote-endpoint = <&adx2_in_ep>;
					};
				};

				port@2e {
					reg = <0x2e>;

					xbar_adx2_out1_ep: endpoint {
						remote-endpoint = <&adx2_out1_ep>;
					};
				};

				port@2f {
					reg = <0x2f>;

					xbar_adx2_out2_ep: endpoint {
						remote-endpoint = <&adx2_out2_ep>;
					};
				};

				port@30 {
					reg = <0x30>;

					xbar_adx2_out3_ep: endpoint {
						remote-endpoint = <&adx2_out3_ep>;
					};
				};

				port@31 {
					reg = <0x31>;

					xbar_adx2_out4_ep: endpoint {
						remote-endpoint = <&adx2_out4_ep>;
					};
				};

				xbar_mixer_in1_port: port@32 {
					reg = <0x32>;

					xbar_mixer_in1_ep: endpoint {
						remote-endpoint = <&mixer_in1_ep>;
					};
				};

				xbar_mixer_in2_port: port@33 {
					reg = <0x33>;

					xbar_mixer_in2_ep: endpoint {
						remote-endpoint = <&mixer_in2_ep>;
					};
				};

				xbar_mixer_in3_port: port@34 {
					reg = <0x34>;

					xbar_mixer_in3_ep: endpoint {
						remote-endpoint = <&mixer_in3_ep>;
					};
				};

				xbar_mixer_in4_port: port@35 {
					reg = <0x35>;

					xbar_mixer_in4_ep: endpoint {
						remote-endpoint = <&mixer_in4_ep>;
					};
				};

				xbar_mixer_in5_port: port@36 {
					reg = <0x36>;

					xbar_mixer_in5_ep: endpoint {
						remote-endpoint = <&mixer_in5_ep>;
					};
				};

				xbar_mixer_in6_port: port@37 {
					reg = <0x37>;

					xbar_mixer_in6_ep: endpoint {
						remote-endpoint = <&mixer_in6_ep>;
					};
				};

				xbar_mixer_in7_port: port@38 {
					reg = <0x38>;

					xbar_mixer_in7_ep: endpoint {
						remote-endpoint = <&mixer_in7_ep>;
					};
				};

				xbar_mixer_in8_port: port@39 {
					reg = <0x39>;

					xbar_mixer_in8_ep: endpoint {
						remote-endpoint = <&mixer_in8_ep>;
					};
				};

				xbar_mixer_in9_port: port@3a {
					reg = <0x3a>;

					xbar_mixer_in9_ep: endpoint {
						remote-endpoint = <&mixer_in9_ep>;
					};
				};

				xbar_mixer_in10_port: port@3b {
					reg = <0x3b>;

					xbar_mixer_in10_ep: endpoint {
						remote-endpoint = <&mixer_in10_ep>;
					};
				};

				port@3c {
					reg = <0x3c>;

					xbar_mixer_out1_ep: endpoint {
						remote-endpoint = <&mixer_out1_ep>;
					};
				};

				port@3d {
					reg = <0x3d>;

					xbar_mixer_out2_ep: endpoint {
						remote-endpoint = <&mixer_out2_ep>;
					};
				};

				port@3e {
					reg = <0x3e>;

					xbar_mixer_out3_ep: endpoint {
						remote-endpoint = <&mixer_out3_ep>;
					};
				};

				port@3f {
					reg = <0x3f>;

					xbar_mixer_out4_ep: endpoint {
						remote-endpoint = <&mixer_out4_ep>;
					};
				};

				port@40 {
					reg = <0x40>;

					xbar_mixer_out5_ep: endpoint {
						remote-endpoint = <&mixer_out5_ep>;
					};
				};

				xbar_ope1_in_port: port@41 {
					reg = <0x41>;

					xbar_ope1_in_ep: endpoint {
						remote-endpoint = <&ope1_cif_in_ep>;
					};
				};

				port@42 {
					reg = <0x42>;

					xbar_ope1_out_ep: endpoint {
						remote-endpoint = <&ope1_cif_out_ep>;
					};
				};

				xbar_ope2_in_port: port@43 {
					reg = <0x43>;

					xbar_ope2_in_ep: endpoint {
						remote-endpoint = <&ope2_cif_in_ep>;
					};
				};

				port@44 {
					reg = <0x44>;

					xbar_ope2_out_ep: endpoint {
						remote-endpoint = <&ope2_cif_out_ep>;
					};
				};
			};
		};
	};

	sound {
		status = "okay";

		compatible = "nvidia,tegra210-audio-graph-card";

		dais = /* FE */
		       <&admaif1_port>, <&admaif2_port>, <&admaif3_port>,
		       <&admaif4_port>, <&admaif5_port>, <&admaif6_port>,
		       <&admaif7_port>, <&admaif8_port>, <&admaif9_port>,
		       <&admaif10_port>,
		       /* Router */
		       <&xbar_i2s1_port>, /*<&xbar_i2s2_port>,*/
		       <&xbar_dmic1_port>, <&xbar_dmic2_port>,
		       <&xbar_sfc1_in_port>, <&xbar_sfc2_in_port>,
		       <&xbar_sfc3_in_port>, <&xbar_sfc4_in_port>,
		       <&xbar_mvc1_in_port>, <&xbar_mvc2_in_port>,
		       <&xbar_amx1_in1_port>, <&xbar_amx1_in2_port>,
		       <&xbar_amx1_in3_port>, <&xbar_amx1_in4_port>,
		       <&xbar_amx2_in1_port>, <&xbar_amx2_in2_port>,
		       <&xbar_amx2_in3_port>, <&xbar_amx2_in4_port>,
		       <&xbar_adx1_in_port>, <&xbar_adx2_in_port>,
		       <&xbar_mixer_in1_port>, <&xbar_mixer_in2_port>,
		       <&xbar_mixer_in3_port>, <&xbar_mixer_in4_port>,
		       <&xbar_mixer_in5_port>, <&xbar_mixer_in6_port>,
		       <&xbar_mixer_in7_port>, <&xbar_mixer_in8_port>,
		       <&xbar_mixer_in9_port>, <&xbar_mixer_in10_port>,
		       <&xbar_ope1_in_port>, <&xbar_ope2_in_port>,
		       /* HW accelerators */
		       <&sfc1_out_port>, <&sfc2_out_port>,
		       <&sfc3_out_port>, <&sfc4_out_port>,
		       <&mvc1_out_port>, <&mvc2_out_port>,
		       <&amx1_out_port>, <&amx2_out_port>,
		       <&adx1_out1_port>, <&adx1_out2_port>,
		       <&adx1_out3_port>, <&adx1_out4_port>,
		       <&adx2_out1_port>, <&adx2_out2_port>,
		       <&adx2_out3_port>, <&adx2_out4_port>,
		       <&mixer_out1_port>, <&mixer_out2_port>,
		       <&mixer_out3_port>, <&mixer_out4_port>,
		       <&mixer_out5_port>,
		       <&ope1_out_port>, <&ope2_out_port>,
		       /* I/O DAP Ports */
		       <&i2s1_port>/*, <&i2s2_port>*/;

		label = "Nintendo-Switch-rt5640-APE";

		widgets = "Microphone",	"x Mic Jack",
			  "Headphone",	"x Headphone Jack",
			  "Speaker",	"x Int Spk";

		routing = /* I2S1 <-> RT5640 */
			  "x AIF1 Playback",	"I2S1 DAP-Playback",
			  "I2S1 DAP-Capture",		"x AIF1 Capture",
			  /* RT5640 codec controls */
			  "x Headphone Jack", 	"x HPOL",
			  "x Headphone Jack", 	"x HPOR",
			  "x Int Spk", 	"x SPORP",
			  "x Int Spk", 	"x SPORN",
			  "x Int Spk", 	"x SPOLP",
			  "x Int Spk", 	"x SPOLN",
			  "x IN1P",		"x Mic Jack",
			  "x IN1P",		"x Mic Jack";
	};

	thermal-zones {
		cpu {
			polling-delay-passive = <250>;
			polling-delay = <500>;
			status = "okay";

			/* Based on Console profile SoC: 95% (100% at Handheld) */
			coefficients = <95 0 0 0 0 0 0 0 0 0 0 0 0 0 0 0 0 0 0 0>;
			thermal-sensors = <&tmp451 1>;

			trips {
				cpu_critical: cpu-critical {
					temperature = <102500>;
					hysteresis = <0>;
					type = "critical";
				};

				cpu_heavy: cpu-heavy {
					temperature = <98500>;
					hysteresis = <1000>;
					type = "hot";
				};

				cpu_throttle: cpu-throttle {
					temperature = <85000>;
					hysteresis = <3000>;
					type = "passive";
				};

				cpu_fan_trip0: cpu-fan-trip0 {
					temperature = <42000>;
					hysteresis = <3000>;
					type = "active";
				};

				cpu_fan_trip1: cpu-fan-trip1 {
					temperature = <50000>;
					hysteresis = <3000>;
					type = "active";
				};

				cpu_fan_trip2: cpu-fan-trip2 {
					temperature = <57000>;
					hysteresis = <3000>;
					type = "active";
				};

				cpu_fan_trip3: cpu-fan-trip3 {
					temperature = <64000>;
					hysteresis = <3000>;
					type = "active";
				};

				cpu_fan_trip4: cpu-fan-trip4 {
					temperature = <70000>;
					hysteresis = <3000>;
					type = "active";
				};
			};

			cooling-maps {
				map0 {
					cooling-device = <&fan THERMAL_NO_LIMIT THERMAL_NO_LIMIT>;
					trip = <&cpu_critical>;
				};

				map1 {
					cooling-device = <&fan THERMAL_NO_LIMIT THERMAL_NO_LIMIT>;
					trip = <&cpu_heavy>;
				};

				map2 {
					cooling-device = <&{/cpus/cpu@0} THERMAL_NO_LIMIT THERMAL_NO_LIMIT>;
					trip = <&cpu_throttle>;
				};

				map3 {
					cooling-device = <&fan 1 1>;
					trip = <&cpu_fan_trip0>;
				};

				map4 {
					cooling-device = <&fan 2 2>;
					trip = <&cpu_fan_trip1>;
				};

				map5 {
					cooling-device = <&fan 3 3>;
					trip = <&cpu_fan_trip2>;
				};

				map6 {
					cooling-device = <&fan 4 4>;
					trip = <&cpu_fan_trip3>;
				};

				map7 {
					cooling-device = <&fan 5 5>;
					trip = <&cpu_fan_trip4>;
				};
			};
		};

		pmic {
			status = "okay";
			polling-delay-passive = <250>;
			polling-delay = <500>;
			thermal-sensors = <&max77620>;

			trips {
				pmic_die_warn_temp_thresh: hot-die {
					temperature = <120000>;
					type = "hot";
					hysteresis = <0>;
				};

				pmic_die_cirt_temp_thresh: critical-die {
					temperature = <140000>;
					type = "critical";
					hysteresis = <0>;
				};
			};

			cooling-maps {
				map0 {
					trip = <&pmic_die_warn_temp_thresh>;
					cooling-device = <&throttle_heavy 1 1>;
					contribution = <100>;
				};
			};
		};

		cpu_vreg {
			status = "okay";
			polling-delay-passive = <250>;
			polling-delay = <500>;
			thermal-sensors = <&cpu_max_reg>;

			trips {
				cpu_vreg_die_warn_temp_thresh: hot-die {
					temperature = <120000>;
					type = "hot";
					hysteresis = <0>;
				};
			};

			cooling-maps {
				map0 {
					trip = <&cpu_vreg_die_warn_temp_thresh>;
					cooling-device = <&throttle_heavy 1 1>;
					contribution = <100>;
				};
			};
		};

		gpu_vreg {
			status = "okay";
			polling-delay-passive = <250>;
			polling-delay = <500>;
			thermal-sensors = <&gpu_max_reg>;

			trips {
				gpu_vreg_die_warn_temp_thresh: hot-die {
					temperature = <120000>;
					type = "hot";
					hysteresis = <0>;
				};
			};

			cooling-maps {
				/*
				* There are currently no cooling maps,
				* because there are no cooling devices.
				*/
			};
		};
	};

};
